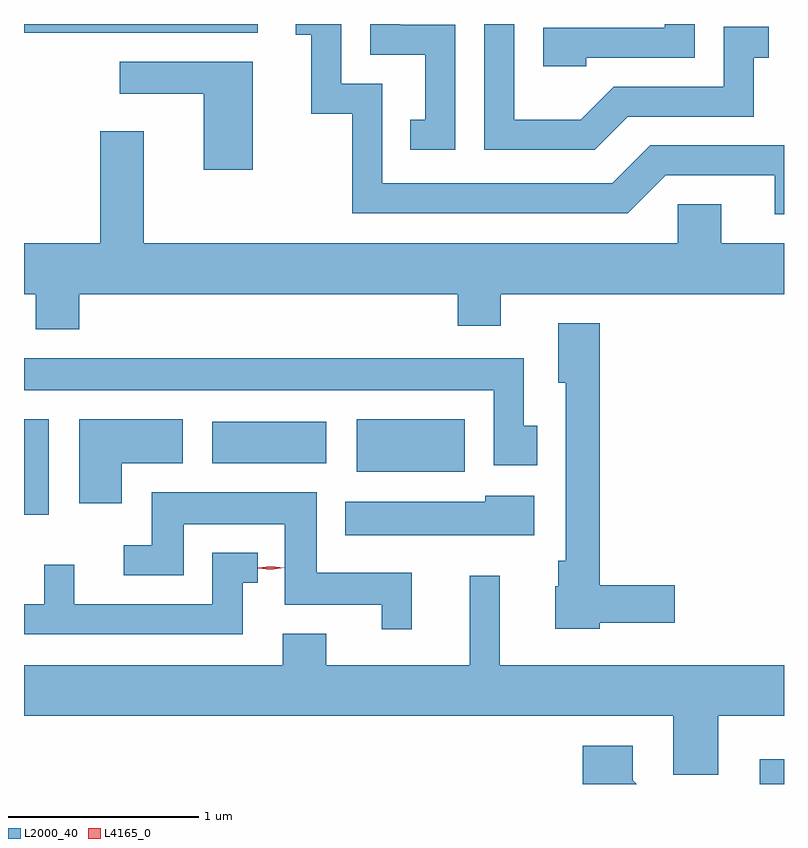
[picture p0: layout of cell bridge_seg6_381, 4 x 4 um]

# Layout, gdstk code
import gdstk
lib = gdstk.Library(unit=1e-6, precision=1e-09)
def R(c, l, rs):  # rectangles x0, y0, x1, y1
    for r in rs: c.add(gdstk.rectangle(r[:2], r[2:], *l))
def P(c, l, *ps):  # polygons
    for p in ps: c.add(gdstk.Polygon(p, *l))
L2000_40 = (2000, 40)
L4165_0 = (4165, 0)

bridge_seg6_381 = lib.new_cell('bridge_seg6_381')
R(bridge_seg6_381, L2000_40, [(890.111,1611.838,890.239,1611.969), (886.239,1613.256,886.369,1613.759), (887.991,1613.481,888.559,1613.759), (887.231,1613.526,887.829,1613.744), (886.239,1615.791,887.468,1615.838)])
P(bridge_seg6_381, L2000_40, [(888.509,1615.834),(888.219,1615.834),(888.219,1615.838),(888.061,1615.838),(888.061,1615.676),(888.351,1615.676),(888.351,1615.334),(888.273,1615.334),(888.273,1615.176),(888.509,1615.176)],
  [(889.417,1615.351),(890.079,1615.351),(890.079,1615.661),(890.158,1615.661),(890.158,1615.824),(889.921,1615.824),(889.921,1615.509),(889.344,1615.509),(889.169,1615.334),(888.819,1615.334),(888.819,1615.838),(888.661,1615.838),(888.661,1615.176),(889.242,1615.176)],
  [(890.239,1615.199),(889.534,1615.199),(889.334,1614.999),(888.124,1614.999),(888.124,1615.524),(887.909,1615.524),(887.909,1615.838),(887.668,1615.838),(887.668,1615.781),(887.751,1615.781),(887.751,1615.366),(887.966,1615.366),(887.966,1614.841),(889.417,1614.841),(889.617,1615.041),(890.191,1615.041),(890.191,1614.836),(890.239,1614.836)],
  [(889.199,1615.661),(889.769,1615.661),(889.769,1615.838),(889.611,1615.838),(889.611,1615.819),(888.971,1615.819),(888.971,1615.616),(889.199,1615.616)],
  [(887.444,1615.639),(886.743,1615.639),(886.743,1615.471),(887.186,1615.471),(887.186,1615.071),(887.444,1615.071)],
  [(886.529,1614.416),(888.521,1614.416),(888.521,1614.251),(888.749,1614.251),(888.749,1614.416),(890.239,1614.416),(890.239,1614.684),(889.909,1614.684),(889.909,1614.889),(889.681,1614.889),(889.681,1614.684),(886.869,1614.684),(886.869,1615.274),(886.641,1615.274),(886.641,1614.684),(886.239,1614.684),(886.239,1614.416),(886.301,1614.416),(886.301,1614.231),(886.529,1614.231)],
  [(889.269,1612.686),(889.664,1612.686),(889.664,1612.884),(889.269,1612.884),(889.269,1614.264),(889.051,1614.264),(889.051,1613.951),(889.091,1613.951),(889.091,1613.014),(889.051,1613.014),(889.051,1612.88),(889.036,1612.88),(889.036,1612.656),(889.269,1612.656)],
  [(888.939,1613.724),(888.869,1613.724),(888.869,1614.079),(886.239,1614.079),(886.239,1613.911),(888.711,1613.911),(888.711,1613.516),(888.939,1613.516)],
  [(886.754,1613.526),(887.074,1613.526),(887.074,1613.759),(886.531,1613.759),(886.531,1613.316),(886.754,1613.316)],
  [(888.279,1612.949),(887.779,1612.949),(887.779,1613.374),(886.911,1613.374),(886.911,1613.094),(886.763,1613.094),(886.763,1612.936),(887.079,1612.936),(887.079,1613.206),(887.611,1613.206),(887.611,1612.781),(888.121,1612.781),(888.121,1612.653),(888.279,1612.653)],
  [(888.924,1613.354),(888.666,1613.354),(888.666,1613.324),(887.931,1613.324),(887.931,1613.146),(888.924,1613.146)],
  [(887.389,1612.896),(887.468,1612.896),(887.468,1613.054),(887.231,1613.054),(887.231,1612.784),(886.504,1612.784),(886.504,1612.993),(886.346,1612.993),(886.346,1612.784),(886.239,1612.784),(886.239,1612.626),(887.389,1612.626)],
  [(889.894,1612.196),(890.239,1612.196),(890.239,1612.464),(888.744,1612.464),(888.744,1612.933),(888.586,1612.933),(888.586,1612.464),(887.829,1612.464),(887.829,1612.629),(887.601,1612.629),(887.601,1612.464),(886.239,1612.464),(886.239,1612.196),(889.656,1612.196),(889.656,1611.886),(889.894,1611.886)],
  [(889.444,1611.857),(889.444,1612.039),(889.181,1612.039),(889.181,1611.838),(889.463,1611.838)])
P(bridge_seg6_381, L4165_0, [(887.538,1612.965),(887.469,1612.974),(887.469,1612.975),(887.469,1612.975),(887.538,1612.985),(887.608,1612.976),(887.608,1612.976),(887.608,1612.975)])

lib.write_gds('bridge_seg6_381.gds')
